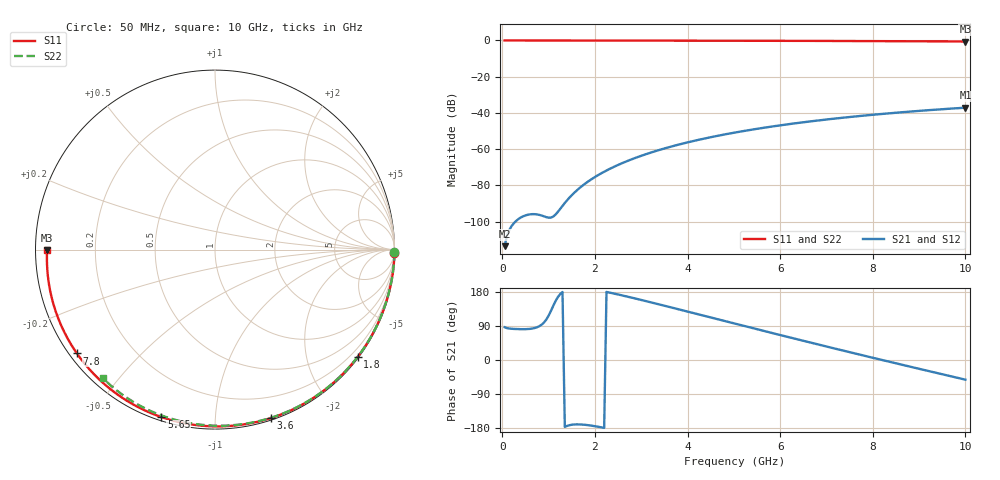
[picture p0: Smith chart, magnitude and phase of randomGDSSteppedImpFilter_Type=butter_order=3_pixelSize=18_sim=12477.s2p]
! freq	dB(S11)	phase(S11)	dB(S12)	phase(S12)
!  dB(S21)	phase(S21)	dB(S22)	phase(S22)
!S-par simulation data
#  GHz  S  DB  R 50
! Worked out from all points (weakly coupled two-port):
!   200 points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, 50 MHz to 10 GHz, reference 50 ohm
!   highest |S21| = -37.11 dB at 10 GHz (marker M1); lowest = -113.5 dB at 50 MHz (marker M2)
!   lowest |S11| = -0.6 dB at 10 GHz (marker M3), VSWR 30.01, Z = 1.67 - j0.0467 ohm
!   |S11| at or under -10 dB: nowhere
!   |S22| runs from -0.4 to 0.0 dB; largest |S21 - S12| = 0
!   S11 on the Smith chart (normalised r, x): 50 MHz: open; 1.8 GHz: 0.03, -2.99; 3.6 GHz: 0.02, -1.39; 5.65 GHz: 0.02, -0.73; 7.8 GHz: 0.02, -0.33; 10 GHz: 0.03, -0.00
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0.05  -0.00 -1.0  -113.54 86.5  -113.54 86.5  -0.00 -0.8
0.45  -0.01 -9.4  -97.06 81.3  -97.06 81.3  -0.01 -6.8
0.85  -0.02 -17.7  -96.64 93.2  -96.64 93.2  -0.02 -12.8
1.25  -0.03 -25.9  -92.97 173.9  -92.97 173.9  -0.02 -18.8
1.7  -0.04 -35.0  -80.78 -170.2  -80.78 -170.2  -0.03 -25.4
1.75  -0.05 -36.0  -79.77 -170.6  -79.77 -170.6  -0.03 -26.1
1.8  -0.05 -37.0  -78.81 -171.2  -78.81 -171.2  -0.03 -26.9
2.1  -0.05 -42.9  -73.86 -176.8  -73.86 -176.8  -0.04 -31.2
2.5  -0.06 -50.8  -68.70 172.9  -68.70 172.9  -0.05 -37.0
2.9  -0.08 -58.5  -64.57 161.5  -64.57 161.5  -0.06 -42.7
3.4  -0.09 -67.9  -60.36 146.4  -60.36 146.4  -0.07 -49.8
3.6  -0.10 -71.6  -58.90 140.2  -58.90 140.2  -0.07 -52.5
4.3  -0.12 -84.3  -54.49 118.5  -54.49 118.5  -0.09 -62.1
5.05  -0.15 -97.5  -50.70 95.2  -50.70 95.2  -0.11 -72.0
5.65  -0.18 -107.7  -48.17 76.6  -48.17 76.6  -0.13 -79.7
6.15  -0.21 -116.1  -46.32 61.3  -46.32 61.3  -0.15 -86.0
6.7  -0.24 -125.1  -44.52 44.6  -44.52 44.6  -0.18 -92.8
7.25  -0.28 -134.1  -42.92 28.1  -42.92 28.1  -0.21 -99.5
7.8  -0.33 -143.1  -41.49 11.8  -41.49 11.8  -0.25 -106.0
8.35  -0.38 -152.1  -40.21 -4.4  -40.21 -4.4  -0.29 -112.4
9.2  -0.48 -166.2  -38.49 -29.0  -38.49 -29.0  -0.36 -122.1
10  -0.58 -179.9  -37.11 -51.9  -37.11 -51.9  -0.44 -131.1
